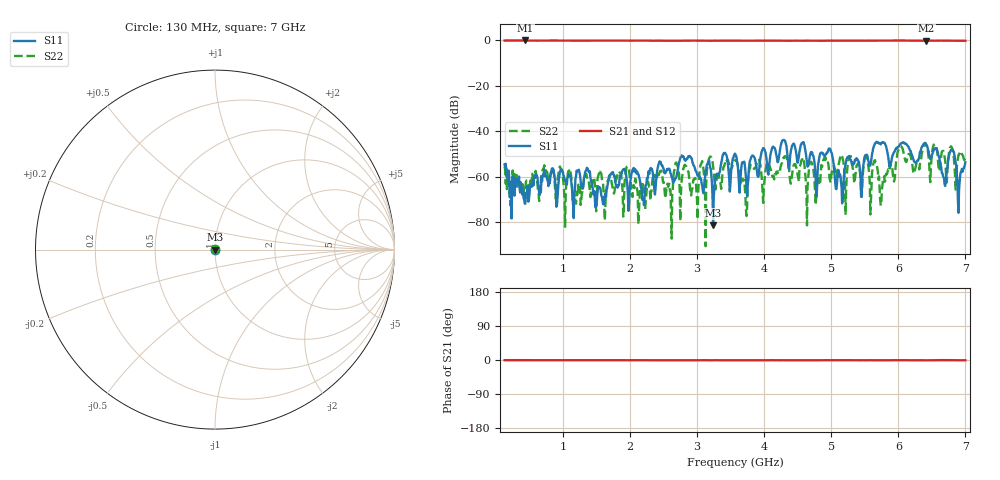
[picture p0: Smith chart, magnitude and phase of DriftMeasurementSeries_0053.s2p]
# Hz S RI R 50.000000
! Metas.Vna.Tools, 2.8.8664.20301
! Metas.Vna.Data, 2.8.8664.20285
! Created: UTC 2024.02.11 10:08:25
! FREQ  re:S1,1  im:S1,1  re:S2,1  im:S2,1  re:S1,2  im:S1,2  re:S2,2  im:S2,2
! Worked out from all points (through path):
!   801 points, 130 MHz to 7 GHz, reference 50 ohm
!   highest |S21| = -0.04 dB at 439.1 MHz (marker M1); lowest = -0.2 dB at 6.416 GHz (marker M2)
!   lowest |S11| = -81.2 dB at 3.239 GHz (marker M3), VSWR 1.00, Z = 50 - j0.00425 ohm
!   |S11| at or under -10 dB: start of sweep to end of sweep
!   |S22| runs from -90.5 to -45.1 dB; largest |S21 - S12| = 0.022
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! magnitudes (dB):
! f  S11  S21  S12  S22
! 130 MHz  -54.6  -0.1  0.0  -55.4
! 439.1 MHz  -71.8  0.0  0.0  -64.9
! 1.281 GHz  -63.7  -0.1  0.0  -67.4
! 2.071 GHz  -56.6  -0.1  0.0  -62.2
! 2.2 GHz  -69.4  -0.1  0.0  -65.4
! 2.423 GHz  -54.6  -0.1  0.0  -60.1
! 2.887 GHz  -50.8  -0.1  0.0  -62.7
! 3.239 GHz  -81.2  -0.1  0.0  -55.4
! 3.565 GHz  -49.8  -0.2  0.0  -52.7
! 3.72 GHz  -57.2  -0.1  0.0  -68.3
! 3.909 GHz  -60.0  -0.1  0.0  -52.6
! 4.716 GHz  -49.3  -0.1  0.0  -54.6
! 4.982 GHz  -47.7  -0.1  0.0  -61.4
! 5.154 GHz  -64.2  -0.1  0.0  -50.6
! 5.678 GHz  -44.6  -0.1  0.0  -54.9
! 5.738 GHz  -45.7  -0.1  0.0  -72.7
! 5.858 GHz  -53.1  -0.1  0.0  -56.9
! 6.416 GHz  -45.7  -0.2  0.0  -46.4
! 6.682 GHz  -60.7  -0.1  0.0  -49.6
! 6.794 GHz  -48.2  -0.1  0.0  -46.9
! 6.906 GHz  -65.8  -0.1  0.0  -50.2
! 7 GHz  -53.6  -0.2  0.0  -52.8
